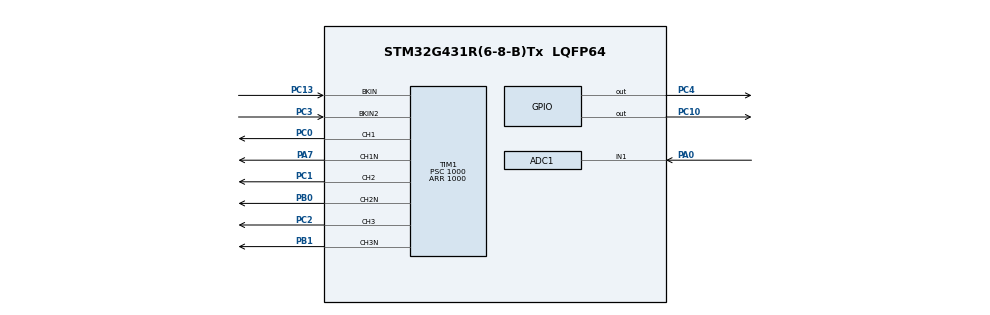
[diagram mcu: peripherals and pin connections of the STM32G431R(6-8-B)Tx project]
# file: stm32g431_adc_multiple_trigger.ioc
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ADC1.Channel-0\#ChannelRegularConversion=ADC_CHANNEL_1
ADC1.ExternalTrigConv=ADC_EXTERNALTRIG_T1_TRGO2
ADC1.NbrOfConversionFlag=1
ADC1.OffsetNumber-0\#ChannelRegularConversion=ADC_OFFSET_NONE
ADC1.Rank-0\#ChannelRegularConversion=1
ADC1.SamplingTime-0\#ChannelRegularConversion=ADC_SAMPLETIME_2CYCLES_5
ADC1.master=1
Mcu.Family=STM32G4
Mcu.Name=STM32G431R(6-8-B)Tx
Mcu.Package=LQFP64
NVIC.ADC1_2_IRQn=true\:0\:0\:false\:false\:true\:true\:true
NVIC.PriorityGroup=NVIC_PRIORITYGROUP_4
NVIC.TIM1_BRK_TIM15_IRQn=true\:0\:0\:false\:false\:true\:true\:true
PA0.Mode=IN1-Single-Ended
PA0.Signal=ADC1_IN1
PA7.Mode=PWM Generation1 CH1 CH1N
PA7.Signal=TIM1_CH1N
PB0.Mode=PWM Generation2 CH2 CH2N
PB0.Signal=TIM1_CH2N
PB1.Mode=PWM Generation3 CH3 CH3N
PB1.Signal=TIM1_CH3N
PC0.Signal=S_TIM1_CH1
PC1.Signal=S_TIM1_CH2
PC10.Signal=GPIO_Output
PC13.Mode=Activate-Break-Input
PC13.Signal=TIM1_BKIN
PC2.Signal=S_TIM1_CH3
PC3.Mode=Activate-Break-Input-2
PC3.Signal=TIM1_BKIN2
PC4.Signal=GPIO_Output
PF0-OSC_IN.Mode=HSE-External-Oscillator
PF0-OSC_IN.Signal=RCC_OSC_IN
PF1-OSC_OUT.Mode=HSE-External-Oscillator
PF1-OSC_OUT.Signal=RCC_OSC_OUT
ProjectManager.HeapSize=0x200
ProjectManager.StackSize=0x400
ProjectManager.TargetToolchain=MDK-ARM V5
RCC.ADC12CLockSelection=RCC_ADC12CLKSOURCE_PLL
RCC.ADC12Freq_Value=48571428.571428575
RCC.AHBFreq_Value=170000000
RCC.APB1Freq_Value=170000000
RCC.APB1TimFreq_Value=170000000
RCC.APB2Freq_Value=170000000
RCC.APB2TimFreq_Value=170000000
RCC.CortexFreq_Value=170000000
RCC.EXTERNAL_CLOCK_VALUE=12288000
RCC.HCLKFreq_Value=170000000
RCC.HSE_VALUE=8000000
RCC.HSI48_VALUE=48000000
RCC.HSI_VALUE=16000000
RCC.LSE_VALUE=32768
RCC.PLLM=RCC_PLLM_DIV4
RCC.PLLN=85
RCC.PLLP=RCC_PLLP_DIV7
RCC.SYSCLKFreq_VALUE=170000000
RCC.SYSCLKSource=RCC_SYSCLKSOURCE_PLLCLK
RCC.USBFreq_Value=170000000
RCC.VCOOutputFreq_Value=340000000
SH.S_TIM1_CH1.0=TIM1_CH1,PWM Generation1 CH1 CH1N
SH.S_TIM1_CH2.0=TIM1_CH2,PWM Generation2 CH2 CH2N
SH.S_TIM1_CH3.0=TIM1_CH3,PWM Generation3 CH3 CH3N
TIM1.Break2State=TIM_BREAK2_ENABLE
TIM1.BreakPolarity=TIM_BREAKPOLARITY_HIGH
TIM1.Channel-PWM\ Generation1\ CH1\ CH1N=TIM_CHANNEL_1
TIM1.Channel-PWM\ Generation2\ CH2\ CH2N=TIM_CHANNEL_2
TIM1.Channel-PWM\ Generation3\ CH3\ CH3N=TIM_CHANNEL_3
TIM1.Channel-PWM\ Generation4\ No\ Output=TIM_CHANNEL_4
TIM1.Channel-PWM\ Generation5\ No\ Output=TIM_CHANNEL_5
TIM1.Channel-PWM\ Generation6\ No\ Output=TIM_CHANNEL_6
TIM1.CounterMode=TIM_COUNTERMODE_CENTERALIGNED1
TIM1.OCMode_PWM-PWM\ Generation4\ No\ Output=TIM_OCMODE_PWM2
TIM1.OCMode_PWM-PWM\ Generation6\ No\ Output=TIM_OCMODE_PWM2
TIM1.PeriodNoDither=1000
TIM1.Prescaler=1000
TIM1.PulseNoDither_1=250
TIM1.PulseNoDither_2=500
TIM1.PulseNoDither_3=750
TIM1.PulseNoDither_4=500
TIM1.PulseNoDither_5=500
TIM1.PulseNoDither_6=750
TIM1.TIM_MasterOutputTrigger2=TIM_TRGO2_OC4REF_RISING_OC6REF_RISING
VP_SYS_VS_DBSignals.Mode=DisableDeadBatterySignals
VP_TIM1_VS_ClockSourceINT.Mode=Internal
VP_TIM1_VS_no_output4.Mode=PWM Generation4 No Output
VP_TIM1_VS_no_output5.Mode=PWM Generation5 No Output
VP_TIM1_VS_no_output6.Mode=PWM Generation6 No Output
board=custom

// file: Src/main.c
/* USER CODE BEGIN Header */
/**
  ******************************************************************************
  * @file           : main.c
  * @brief          : Main program body
  ******************************************************************************
  * @attention
  *
  * <h2><center>&copy; Copyright (c) 2020 STMicroelectronics.
  * All rights reserved.</center></h2>
  *
  * This software component is licensed by ST under BSD 3-Clause license,
  * the "License"; You may not use this file except in compliance with the
  * License. You may obtain a copy of the License at:
  *                        opensource.org/licenses/BSD-3-Clause
  *
  ******************************************************************************
  */
/* USER CODE END Header */

#include "main.h"
#include "adc.h"
#include "tim.h"
#include "gpio.h"

void SystemClock_Config(void);
/* USER CODE BEGIN PFP */
void Initialize_ADC(void);
/* USER CODE END PFP */

/* USER CODE BEGIN 0 */
uint8_t g_gpio = 0;
uint8_t g_gpio2 = 0;
/* USER CODE END 0 */

int main(void)
{

  /* MCU Configuration--------------------------------------------------------*/

  /* Reset of all peripherals, Initializes the Flash interface and the Systick. */

  LL_APB2_GRP1_EnableClock(LL_APB2_GRP1_PERIPH_SYSCFG);
  LL_APB1_GRP1_EnableClock(LL_APB1_GRP1_PERIPH_PWR);

  NVIC_SetPriorityGrouping(NVIC_PRIORITYGROUP_4);

  /* System interrupt init*/

  /** Disable the internal Pull-Up in Dead Battery pins of UCPD peripheral
  */
  LL_PWR_DisableDeadBatteryPD();

  /* Configure the system clock */
  SystemClock_Config();

  /* Initialize all configured peripherals */
  MX_GPIO_Init();
  MX_TIM1_Init();
  MX_ADC1_Init();
  /* USER CODE BEGIN 2 */
  LL_TIM_CC_EnableChannel(TIM1, LL_TIM_CHANNEL_CH1  |
                                LL_TIM_CHANNEL_CH1N |
                                LL_TIM_CHANNEL_CH2  |
                                LL_TIM_CHANNEL_CH2N |
                                LL_TIM_CHANNEL_CH3  |
                                LL_TIM_CHANNEL_CH3N |
																LL_TIM_CHANNEL_CH4 |
																LL_TIM_CHANNEL_CH6
																);
  LL_TIM_EnableAutomaticOutput(TIM1);

  /* Enable counter */
  LL_TIM_EnableCounter(TIM1);

  /* Force update generation */
  LL_TIM_GenerateEvent_UPDATE(TIM1);
	LL_TIM_EnableIT_BRK(TIM1);

	Initialize_ADC();
	if ((LL_ADC_IsEnabled(ADC1) == 1) &&(LL_ADC_IsDisableOngoing(ADC1) == 0)&&(LL_ADC_REG_IsConversionOngoing(ADC1) == 0))
  {
    LL_ADC_REG_StartConversion(ADC1);
		LL_ADC_EnableIT_EOC(ADC1);
    LL_ADC_DisableIT_EOS(ADC1);
  }
  /* USER CODE END 2 */

  /* Infinite loop */
  /* USER CODE BEGIN WHILE */
  while (1)
  {
		LL_TIM_EnableAllOutputs(TIM1);

		//Test Break GPIO when
		if(g_gpio == 0)
		{
			LL_GPIO_ResetOutputPin(GPIOC, LL_GPIO_PIN_10);
		}
		else
		{
			LL_GPIO_SetOutputPin(GPIOC, LL_GPIO_PIN_10);
		}

		// br2
		if(g_gpio2 == 0)
		{
			LL_GPIO_ResetOutputPin(GPIOC, LL_GPIO_PIN_4);
		}
		else
		{
			LL_GPIO_SetOutputPin(GPIOC, LL_GPIO_PIN_4);
		}

		//br1
		if(LL_TIM_IsActiveFlag_BRK(TIM1) == 0)
		{
			if(LL_TIM_IsEnabledIT_BRK(TIM1) != 1)
			{
				LL_TIM_EnableIT_BRK(TIM1);
			}
		}
		else
		{
			LL_TIM_ClearFlag_BRK(TIM1);
		}

		//br2
		if(LL_TIM_IsActiveFlag_BRK(TIM1) == 0)
		{
			if(LL_TIM_IsEnabledIT_BRK(TIM1) != 1)
			{
				LL_TIM_EnableIT_BRK(TIM1);
			}
		}
		else
		{
			LL_TIM_ClearFlag_BRK(TIM1);
		}

    /* USER CODE END WHILE */

  }
}

void SystemClock_Config(void)
{
  LL_FLASH_SetLatency(LL_FLASH_LATENCY_8);
  LL_PWR_EnableRange1BoostMode();
  LL_RCC_HSI_Enable();

   /* Wait till HSI is ready */
  while(LL_RCC_HSI_IsReady() != 1)
  {

  }
  LL_RCC_HSI_SetCalibTrimming(64);
  LL_RCC_PLL_ConfigDomain_SYS(LL_RCC_PLLSOURCE_HSI, LL_RCC_PLLM_DIV_4, 85, LL_RCC_PLLR_DIV_2);
  LL_RCC_PLL_ConfigDomain_ADC(LL_RCC_PLLSOURCE_HSI, LL_RCC_PLLM_DIV_4, 85, LL_RCC_PLLP_DIV_7);
  LL_RCC_PLL_EnableDomain_SYS();
  LL_RCC_PLL_EnableDomain_ADC();
  LL_RCC_PLL_Enable();

   /* Wait till PLL is ready */
  while(LL_RCC_PLL_IsReady() != 1)
  {

  }
  LL_RCC_SetSysClkSource(LL_RCC_SYS_CLKSOURCE_PLL);
  LL_RCC_SetAHBPrescaler(LL_RCC_SYSCLK_DIV_2);

   /* Wait till System clock is ready */
  while(LL_RCC_GetSysClkSource() != LL_RCC_SYS_CLKSOURCE_STATUS_PLL)
  {

  }
  /* Insure 1?s transition state at intermediate medium speed clock based on DWT */
  CoreDebug->DEMCR |= CoreDebug_DEMCR_TRCENA_Msk;
  DWT->CTRL |= DWT_CTRL_CYCCNTENA_Msk;
  DWT->CYCCNT = 0;
  while(DWT->CYCCNT < 100);
  /* Set AHB prescaler*/
  LL_RCC_SetAHBPrescaler(LL_RCC_SYSCLK_DIV_1);
  LL_RCC_SetAPB1Prescaler(LL_RCC_APB1_DIV_1);
  LL_RCC_SetAPB2Prescaler(LL_RCC_APB1_DIV_1);

  LL_Init1msTick(170000000);

  LL_SetSystemCoreClock(170000000);
  LL_RCC_SetADCClockSource(LL_RCC_ADC12_CLKSOURCE_PLL);
}

/* USER CODE BEGIN 4 */
#define ADC_DELAY_CALIB_ENABLE_CPU_CYCLES  (LL_ADC_DELAY_CALIB_ENABLE_ADC_CYCLES * 32)
void Initialize_ADC(void)
{
  __IO uint32_t wait_loop_index2 = 0U;
  #if (USE_TIMEOUT == 1)
  uint32_t Timeout = 0U; /* Variable used for timeout management */
  #endif /* USE_TIMEOUT */

  /*## Operation on ADC hierarchical scope: ADC instance #####################*/

  /* Note: Hardware constraint (refer to description of the functions         */
  /*       below):                                                            */
  /*       On this STM32 serie, setting of these features is conditioned to   */
  /*       ADC state:                                                         */
  /*       ADC must be disabled.                                              */
  /* Note: In this example, all these checks are not necessary but are        */
  /*       implemented anyway to show the best practice usages                */
  /*       corresponding to reference manual procedure.                       */
  /*       Software can be optimized by removing some of these checks, if     */
  /*       they are not relevant considering previous settings and actions    */
  /*       in user application.                                               */
  if (LL_ADC_IsEnabled(ADC1) == 0)
  {
    /* Disable ADC deep power down (enabled by default after reset state) */
    LL_ADC_DisableDeepPowerDown(ADC1);

    /* Enable ADC internal voltage regulator */
    LL_ADC_EnableInternalRegulator(ADC1);

    /* Delay for ADC internal voltage regulator stabilization.                */
    /* Compute number of CPU cycles to wait for, from delay in us.            */
    /* Note: Variable divided by 2 to compensate partially                    */
    /*       CPU processing cycles (depends on compilation optimization).     */
    /* Note: If system core clock frequency is below 200kHz, wait time        */
    /*       is only a few CPU processing cycles.                             */
    wait_loop_index2 = ((LL_ADC_DELAY_INTERNAL_REGUL_STAB_US * (SystemCoreClock / (100000 * 2))) / 10);
    while(wait_loop_index2 != 0)
    {
      wait_loop_index2--;
    }

    /* Run ADC self calibration */
    LL_ADC_StartCalibration(ADC1, LL_ADC_SINGLE_ENDED);

    /* Poll for ADC effectively calibrated */
    #if (USE_TIMEOUT == 1)
    Timeout = ADC_CALIBRATION_TIMEOUT_MS;
    #endif /* USE_TIMEOUT */

    while (LL_ADC_IsCalibrationOnGoing(ADC2) != 0)
    {
    #if (USE_TIMEOUT == 1)
      /* Check Systick counter flag to decrement the time-out value */
      if (LL_SYSTICK_IsActiveCounterFlag())
      {
        if(Timeout-- == 0)
        {
        }
      }
    #endif /* USE_TIMEOUT */
    }

    /* Delay between ADC end of calibration and ADC enable.                   */
    /* Note: Variable divided by 2 to compensate partially                    */
    /*       CPU processing cycles (depends on compilation optimization).     */
    wait_loop_index2 = (ADC_DELAY_CALIB_ENABLE_CPU_CYCLES >> 1);
    while(wait_loop_index2 != 0)
    {
      wait_loop_index2--;
    }

    /* Enable ADC */
    LL_ADC_Enable(ADC1);

    /* Poll for ADC ready to convert */
    #if (USE_TIMEOUT == 1)
    Timeout = ADC_ENABLE_TIMEOUT_MS;
    #endif /* USE_TIMEOUT */

    while (LL_ADC_IsActiveFlag_ADRDY(ADC1) == 0)
    {
    #if (USE_TIMEOUT == 1)
      /* Check Systick counter flag to decrement the time-out value */
      if (LL_SYSTICK_IsActiveCounterFlag())
      {
        if(Timeout-- == 0)
        {
        }
      }
    #endif /* USE_TIMEOUT */
    }

    /* Note: ADC flag ADRDY is not cleared here to be able to check ADC       */
    /*       status afterwards.                                               */
    /*       This flag should be cleared at ADC Deactivation, before a new    */
    /*       ADC activation, using function "LL_ADC_ClearFlag_ADRDY()".       */
  }

  /*## Operation on ADC hierarchical scope: ADC group regular ################*/
  /* Note: No operation on ADC group regular performed here.                  */
  /*       ADC group regular conversions to be performed after this function  */
  /*       using function:                                                    */
  /*       "LL_ADC_REG_StartConversion();"                                    */

  /*## Operation on ADC hierarchical scope: ADC group injected ###############*/
  /* Note: No operation on ADC group injected performed here.                 */
  /*       ADC group injected conversions to be performed after this function */
  /*       using function:                                                    */
  /*       "LL_ADC_INJ_StartConversion();"                                    */

}
/* USER CODE END 4 */

void Error_Handler(void)
{
}

/************************ (C) COPYRIGHT STMicroelectronics *****END OF FILE****/
